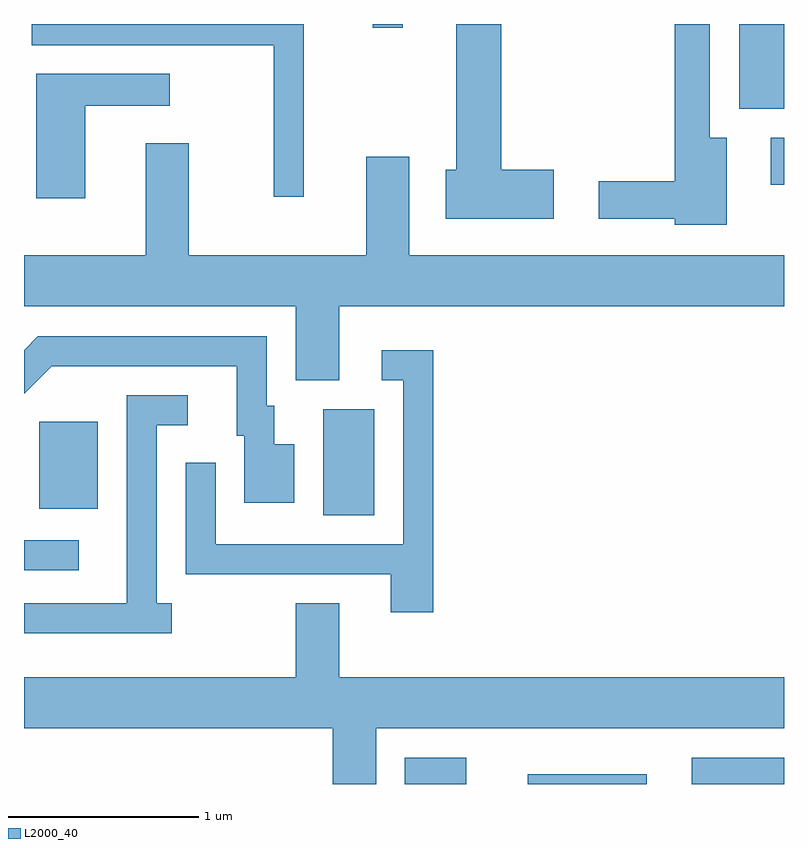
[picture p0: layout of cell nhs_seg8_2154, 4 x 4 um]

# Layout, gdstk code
import gdstk
lib = gdstk.Library(unit=1e-6, precision=1e-09)
def R(c, l, rs):  # rectangles x0, y0, x1, y1
    for r in rs: c.add(gdstk.rectangle(r[:2], r[2:], *l))
def P(c, l, *ps):  # polygons
    for p in ps: c.add(gdstk.Polygon(p, *l))
L2000_40 = (2000, 40)

nhs_seg8_2154 = lib.new_cell('nhs_seg8_2154')
R(nhs_seg8_2154, L2000_40, [(251.616,1838.342,251.938,1838.479), (252.261,1838.342,252.889,1838.394), (253.126,1838.342,253.611,1838.479), (249.611,1839.466,249.898,1839.624), (251.186,1839.756,251.454,1840.314), (249.691,1839.791,249.999,1840.249), (253.541,1841.496,253.611,1841.744), (253.376,1841.896,253.611,1842.342), (251.446,1842.323,251.604,1842.342)])
P(nhs_seg8_2154, L2000_40, [(253.309,1841.744),(253.219,1841.744),(253.219,1842.342),(253.036,1842.342),(253.036,1841.514),(252.636,1841.514),(252.636,1841.316),(253.036,1841.316),(253.036,1841.286),(253.309,1841.286)],
  [(252.399,1841.574),(252.124,1841.574),(252.124,1842.342),(251.886,1842.342),(251.886,1841.574),(251.831,1841.574),(251.831,1841.316),(252.399,1841.316)],
  [(251.084,1842.342),(249.653,1842.342),(249.653,1842.231),(250.926,1842.231),(250.926,1841.433),(251.084,1841.433)],
  [(249.934,1841.911),(250.378,1841.911),(250.378,1842.079),(249.676,1842.079),(249.676,1841.426),(249.934,1841.426)],
  [(251.269,1840.856),(253.611,1840.856),(253.611,1841.124),(251.639,1841.124),(251.639,1841.644),(251.411,1841.644),(251.411,1841.124),(250.479,1841.124),(250.479,1841.714),(250.251,1841.714),(250.251,1841.124),(249.611,1841.124),(249.611,1840.856),(251.041,1840.856),(251.041,1840.466),(251.269,1840.466)],
  [(251.034,1840.129),(250.929,1840.129),(250.929,1840.334),(250.889,1840.334),(250.889,1840.699),(249.684,1840.699),(249.611,1840.626),(249.611,1840.396),(249.757,1840.541),(250.731,1840.541),(250.731,1840.176),(250.771,1840.176),(250.771,1839.821),(251.034,1839.821)],
  [(251.764,1840.624),(251.493,1840.624),(251.493,1840.466),(251.606,1840.466),(251.606,1839.604),(250.619,1839.604),(250.619,1840.033),(250.461,1840.033),(250.461,1839.446),(251.541,1839.446),(251.541,1839.246),(251.764,1839.246)],
  [(250.388,1839.294),(250.309,1839.294),(250.309,1840.231),(250.473,1840.231),(250.473,1840.389),(250.151,1840.389),(250.151,1839.294),(249.611,1839.294),(249.611,1839.136),(250.388,1839.136)],
  [(251.464,1838.636),(253.611,1838.636),(253.611,1838.904),(251.269,1838.904),(251.269,1839.294),(251.041,1839.294),(251.041,1838.904),(249.611,1838.904),(249.611,1838.636),(251.236,1838.636),(251.236,1838.342),(251.464,1838.342)])

lib.write_gds('nhs_seg8_2154.gds')
